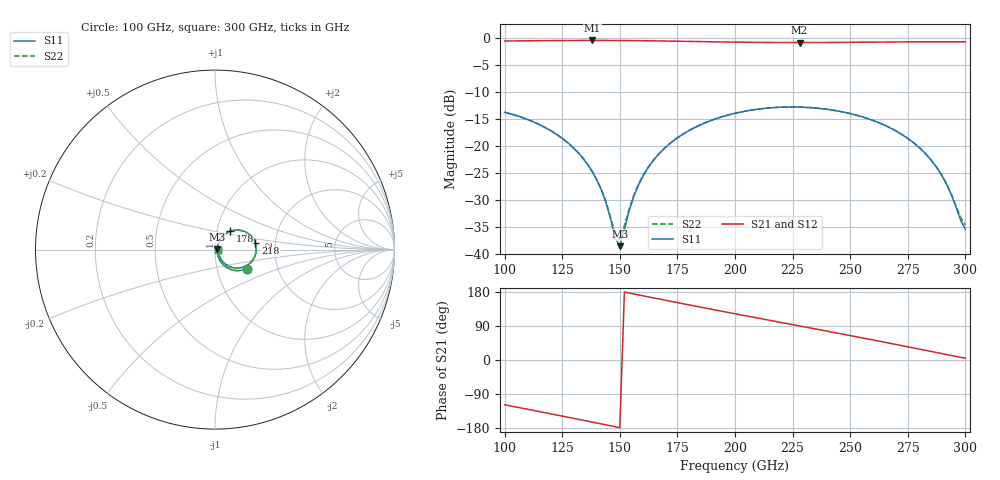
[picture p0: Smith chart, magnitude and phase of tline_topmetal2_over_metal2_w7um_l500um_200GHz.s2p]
#  GHZ S DB R 50
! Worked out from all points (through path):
!   101 points, 100 GHz to 300 GHz, reference 50 ohm
!   highest |S21| = -0.44 dB at 138 GHz (marker M1); lowest = -0.8 dB at 228 GHz (marker M2)
!   group delay of S21, straight-line fit = 3.28 ps
!   lowest |S11| = -38.5 dB at 150 GHz (marker M3), VSWR 1.02, Z = 51.2 + j0.184 ohm
!   |S11| at or under -10 dB: start of sweep to end of sweep
!   |S22| runs from -37.3 to -12.8 dB; largest |S21 - S12| = 1.1e-14
!   S11 on the Smith chart (normalised r, x): 100 GHz: 1.39, -0.31; 178 GHz: 1.15, +0.24; 218 GHz: 1.58, +0.12; 300 GHz: 1.03, -0.00
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100  -13.73 -31.2  -0.54 -118.2  -0.54 -118.2  -13.74 -31.0
120  -17.14 -52.3  -0.47 -142.0  -0.47 -142.0  -17.15 -51.8
134  -22.25 -64.6  -0.44 -158.9  -0.44 -158.9  -22.25 -63.5
138  -24.69 -66.4  -0.44 -163.7  -0.44 -163.7  -24.68 -64.9
142  -28.12 -65.4  -0.44 -168.6  -0.44 -168.6  -28.07 -63.0
144  -30.46 -62.1  -0.44 -171.0  -0.44 -171.0  -30.35 -59.0
148  -37.09 -33.3  -0.45 -175.9  -0.45 -175.9  -36.31 -28.7
150  -38.54 8.7  -0.45 -178.4  -0.45 -178.4  -37.32 8.6
154  -32.09 55.6  -0.46 176.8  -0.46 176.8  -31.69 52.3
158  -27.31 63.2  -0.48 171.9  -0.48 171.9  -27.14 60.9
168  -21.01 59.9  -0.53 159.8  -0.53 159.8  -20.95 58.6
178  -17.65 50.9  -0.60 147.9  -0.60 147.9  -17.61 50.0
200  -13.93 28.1  -0.74 122.1  -0.74 122.1  -13.92 27.5
218  -12.85 8.7  -0.81 101.4  -0.81 101.4  -12.84 8.2
228  -12.79 -2.1  -0.82 89.9  -0.82 89.9  -12.78 -2.5
234  -12.92 -8.5  -0.82 83.0  -0.82 83.0  -12.92 -9.0
250  -13.98 -25.6  -0.78 64.4  -0.78 64.4  -13.98 -26.0
268  -16.77 -44.1  -0.72 43.2  -0.72 43.2  -16.76 -44.3
278  -19.55 -53.1  -0.69 31.2  -0.69 31.2  -19.55 -52.9
286  -23.06 -57.7  -0.68 21.5  -0.68 21.5  -23.04 -57.1
292  -27.21 -55.8  -0.68 14.3  -0.68 14.3  -27.13 -54.3
300  -35.43 -4.4  -0.69 4.5  -0.69 4.5  -34.58 -3.4
